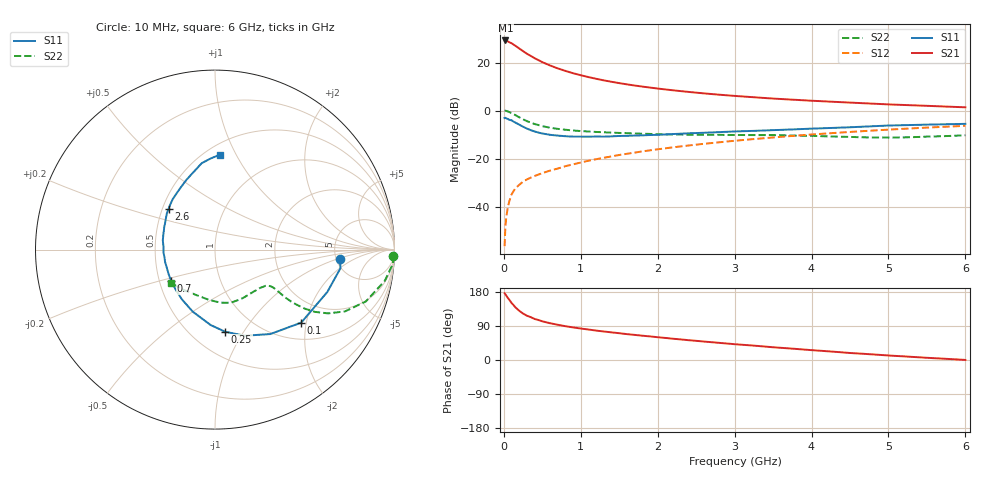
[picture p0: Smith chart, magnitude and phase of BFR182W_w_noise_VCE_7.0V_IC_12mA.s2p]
! Infineon Technologies  Discrete & RF Semiconductors
! BFR182W
! VCE =  7.0 V,  IC =  12 mA
! Common Emitter S-Parameters:  Jan 2017
# GHz  S  MA  R  50
!  f  S11  S21  S12  S22
! GHz  MAG  ANG  MAG  ANG  MAG  ANG  MAG  ANG
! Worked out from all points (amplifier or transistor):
!   77 points, 10 MHz to 6 GHz, reference 50 ohm
!   highest |S21| = 29.2 dB at 20 MHz (marker M1)
!   |S21| within 3 dB of that: start of sweep to 184.9 MHz
!   unconditionally stable (mu >= 1): 1.021 GHz to 2.566 GHz
!   at 130 MHz: K = 0.32, MSG = 30.4 dB, |S12| = -33.4 dB
!   at 2.2 GHz: K = 1.02, MAG = 11.0 dB, |S12| = -15.3 dB
!   at 6 GHz: K = 0.86, MSG = 3.9 dB, |S12| = -6.4 dB
!   lowest NFmin = 1.14 dB at 450 MHz
!   S11 on the Smith chart (normalised r, x): 10 MHz: 5.42, -1.09; 100 MHz: 1.38, -1.87; 250 MHz: 0.72, -0.83; 700 MHz: 0.58, -0.22; 2.6 GHz: 0.54, +0.28; 6 GHz: 0.59, +0.86
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0.01  0.699 -4.2  28.73 176.2  0.0015 90.5  0.9936 -2.0
0.02  0.7065 -8.5  28.79 173.3  0.0038 91.9  0.9948 -4.4
0.05  0.6688 -20.7  27.68 164.3  0.0093 81.0  0.9621 -10.4
0.1  0.6294 -40.3  25.22 150.5  0.0178 74.1  0.8885 -19.0
0.15  0.5623 -56.8  22.33 139.0  0.024 67.3  0.8025 -25.4
0.2  0.5079 -70.9  19.59 129.9  0.0284 66.1  0.724 -29.4
0.25  0.4608 -83.0  17.26 122.5  0.0331 61.7  0.6568 -31.9
0.3  0.421 -93.3  15.22 116.9  0.0368 61.5  0.6008 -33.3
0.4  0.3672 -109.8  12.29 108.3  0.0434 60.9  0.5242 -34.3
0.5  0.3328 -123.7  10.18 102.1  0.0497 62.1  0.4731 -34.3
0.6  0.3123 -134.6  8.694 97.1  0.0562 63.0  0.439 -33.8
0.7  0.3009 -144.0  7.554 93.0  0.0619 64.5  0.4155 -33.4
0.9  0.2866 -159.8  5.983 86.0  0.0758 65.7  0.3846 -33.1
1.1  0.285 -171.9  4.972 80.4  0.0902 66.8  0.366 -33.7
1.3  0.2865 178.0  4.249 75.2  0.1038 67.0  0.353 -34.8
1.5  0.2955 169.9  3.722 70.7  0.1187 67.2  0.3419 -36.8
2.1  0.3179 150.5  2.752 58.2  0.1637 65.3  0.3201 -45.8
2.6  0.3446 138.5  2.277 48.7  0.2026 62.8  0.312 -55.8
3.1  0.3709 127.9  1.966 40.2  0.2425 59.5  0.3092 -65.7
4.1  0.4252 110.8  1.573 24.6  0.3251 51.6  0.2935 -86.1
5.1  0.4916 97.3  1.324 10.7  0.4085 42.4  0.2745 -115.9
6  0.5285 87.2  1.168 0.2  0.4807 33.4  0.3058 -142.9
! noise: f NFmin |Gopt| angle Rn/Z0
0.45  1.14  0.05  71  0.15
0.9  1.22  0.06  102  0.15
1.9  1.71  0.21  -156  0.14
2.4  1.97  0.2  -143  0.21
